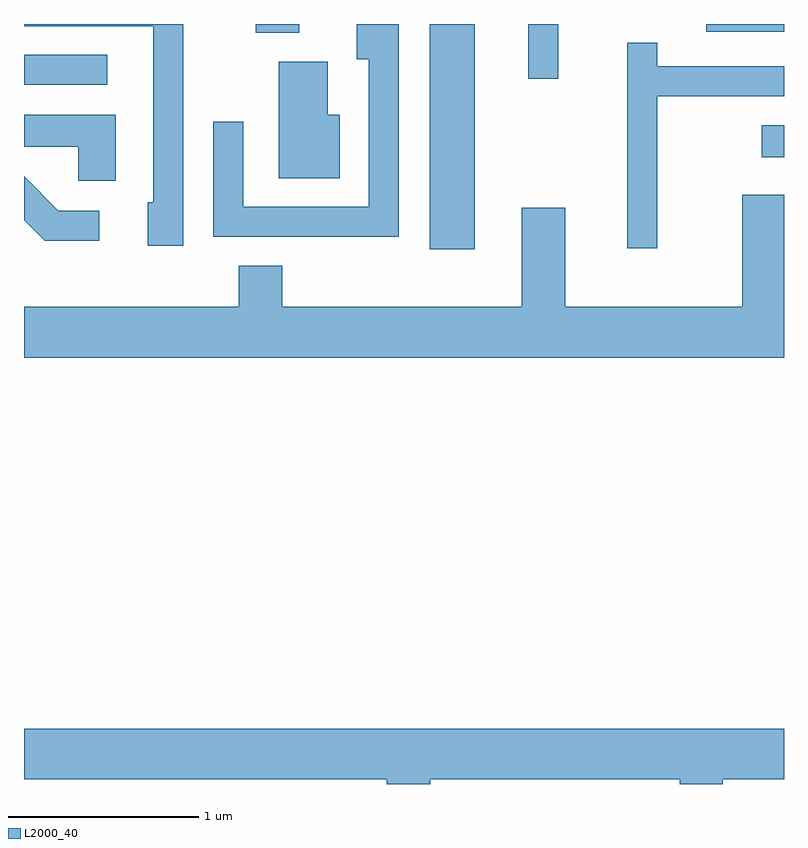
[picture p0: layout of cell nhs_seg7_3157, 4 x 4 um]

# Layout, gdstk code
import gdstk
lib = gdstk.Library(unit=1e-6, precision=1e-09)
def R(c, l, rs):  # rectangles x0, y0, x1, y1
    for r in rs: c.add(gdstk.rectangle(r[:2], r[2:], *l))
def P(c, l, *ps):  # polygons
    for p in ps: c.add(gdstk.Polygon(p, *l))
L2000_40 = (2000, 40)

nhs_seg7_3157 = lib.new_cell('nhs_seg7_3157')
R(nhs_seg7_3157, L2000_40, [(283.746,1757.066,283.984,1758.252), (285.493,1757.551,285.611,1757.719), (281.611,1757.931,282.048,1758.089), (284.266,1757.963,284.424,1758.252), (282.831,1758.206,283.059,1758.252), (285.201,1758.211,285.611,1758.252)])
P(nhs_seg7_3157, L2000_40, [(283.584,1758.252),(283.361,1758.252),(283.361,1758.066),(283.426,1758.066),(283.426,1757.289),(282.764,1757.289),(282.764,1757.738),(282.606,1757.738),(282.606,1757.131),(283.584,1757.131)],
  [(282.449,1758.252),(281.611,1758.252),(281.611,1758.241),(282.291,1758.241),(282.291,1757.314),(282.261,1757.314),(282.261,1757.086),(282.449,1757.086)],
  [(284.944,1757.871),(285.611,1757.871),(285.611,1758.029),(284.944,1758.029),(284.944,1758.153),(284.786,1758.153),(284.786,1757.073),(284.944,1757.073)],
  [(283.274,1757.774),(283.209,1757.774),(283.209,1758.054),(282.951,1758.054),(282.951,1757.441),(283.274,1757.441)],
  [(282.094,1757.774),(281.611,1757.774),(281.611,1757.606),(281.896,1757.606),(281.896,1757.426),(282.094,1757.426)],
  [(282.008,1757.269),(281.792,1757.269),(281.611,1757.45),(281.611,1757.219),(281.719,1757.111),(282.008,1757.111)],
  [(285.611,1757.354),(285.391,1757.354),(285.391,1756.764),(284.459,1756.764),(284.459,1757.284),(284.231,1757.284),(284.231,1756.764),(282.969,1756.764),(282.969,1756.979),(282.741,1756.979),(282.741,1756.764),(281.611,1756.764),(281.611,1756.496),(285.611,1756.496)],
  [(283.749,1754.276),(285.061,1754.276),(285.061,1754.252),(285.289,1754.252),(285.289,1754.276),(285.611,1754.276),(285.611,1754.544),(281.611,1754.544),(281.611,1754.276),(283.521,1754.276),(283.521,1754.252),(283.749,1754.252)])

lib.write_gds('nhs_seg7_3157.gds')
